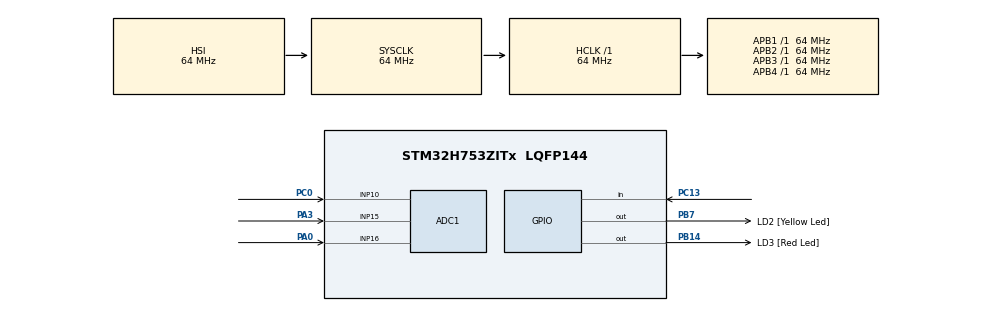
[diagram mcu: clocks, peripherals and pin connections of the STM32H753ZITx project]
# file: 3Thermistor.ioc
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ADC1.Channel-0\#ChannelRegularConversion=ADC_CHANNEL_10
ADC1.Channel-1\#ChannelRegularConversion=ADC_CHANNEL_15
ADC1.Channel-2\#ChannelRegularConversion=ADC_CHANNEL_16
ADC1.ContinuousConvMode=ENABLE
ADC1.ConversionDataManagement=ADC_CONVERSIONDATA_DMA_CIRCULAR
ADC1.NbrOfConversion=3
ADC1.NbrOfConversionFlag=1
ADC1.OffsetNumber-0\#ChannelRegularConversion=ADC_OFFSET_NONE
ADC1.OffsetNumber-1\#ChannelRegularConversion=ADC_OFFSET_NONE
ADC1.OffsetNumber-2\#ChannelRegularConversion=ADC_OFFSET_NONE
ADC1.OffsetSignedSaturation-0\#ChannelRegularConversion=DISABLE
ADC1.OffsetSignedSaturation-1\#ChannelRegularConversion=DISABLE
ADC1.OffsetSignedSaturation-2\#ChannelRegularConversion=DISABLE
ADC1.Rank-0\#ChannelRegularConversion=1
ADC1.Rank-1\#ChannelRegularConversion=2
ADC1.Rank-2\#ChannelRegularConversion=3
ADC1.SamplingTime-0\#ChannelRegularConversion=ADC_SAMPLETIME_810CYCLES_5
ADC1.SamplingTime-1\#ChannelRegularConversion=ADC_SAMPLETIME_810CYCLES_5
ADC1.SamplingTime-2\#ChannelRegularConversion=ADC_SAMPLETIME_810CYCLES_5
ADC1.master=1
CORTEX_M7.CPU_DCache=Disabled
CORTEX_M7.CPU_ICache=Disabled
CORTEX_M7.MPU_Control=__NULL
CORTEX_M7.default_mode_Activation=1
Dma.ADC1.0.Direction=DMA_PERIPH_TO_MEMORY
Dma.ADC1.0.EventEnable=DISABLE
Dma.ADC1.0.FIFOMode=DMA_FIFOMODE_DISABLE
Dma.ADC1.0.Instance=DMA1_Stream0
Dma.ADC1.0.MemDataAlignment=DMA_MDATAALIGN_HALFWORD
Dma.ADC1.0.MemInc=DMA_MINC_ENABLE
Dma.ADC1.0.Mode=DMA_CIRCULAR
Dma.ADC1.0.PeriphDataAlignment=DMA_PDATAALIGN_HALFWORD
Dma.ADC1.0.PeriphInc=DMA_PINC_DISABLE
Dma.ADC1.0.Polarity=HAL_DMAMUX_REQ_GEN_RISING
Dma.ADC1.0.Priority=DMA_PRIORITY_LOW
Dma.ADC1.0.RequestNumber=1
Dma.ADC1.0.SignalID=NONE
Dma.ADC1.0.SyncEnable=DISABLE
Dma.ADC1.0.SyncPolarity=HAL_DMAMUX_SYNC_NO_EVENT
Dma.ADC1.0.SyncRequestNumber=1
Dma.ADC1.0.SyncSignalID=NONE
Dma.Request0=ADC1
Mcu.Family=STM32H7
Mcu.Name=STM32H753ZITx
Mcu.Package=LQFP144
NUCLEO-H753ZI.BUTTON=1
NUCLEO-H753ZI.VCP=true
NVIC.ADC_IRQn=true\:1\:0\:true\:false\:true\:true\:true\:true
NVIC.DMA1_Stream0_IRQn=true\:0\:0\:false\:false\:true\:false\:true\:true
NVIC.EXTI15_10_IRQn=true\:0\:0\:false\:false\:true\:false\:true\:true
NVIC.PriorityGroup=NVIC_PRIORITYGROUP_4
PA0.Mode=IN16-Single-Ended
PA0.Signal=ADC1_INP16
PA3.Signal=ADCx_INP15
PB14.GPIO_Label=LD3 [Red Led]
PB14.Signal=GPIO_Output
PB7.GPIO_Label=LD2 [Yellow Led]
PB7.Signal=GPIO_Output
PC0.Signal=ADCx_INP10
PC13.Signal=GPIO_Input
PC14-OSC32_IN\ (OSC32_IN).Signal=RCC_OSC32_IN
PC15-OSC32_OUT\ (OSC32_OUT).Signal=RCC_OSC32_OUT
PD8.Signal=USART3_TX
PD9.Signal=USART3_RX
PH0-OSC_IN\ (PH0).Signal=RCC_OSC_IN
PH1-OSC_OUT\ (PH1).Signal=RCC_OSC_OUT
ProjectManager.HeapSize=0x200
ProjectManager.StackSize=0x400
ProjectManager.TargetToolchain=STM32CubeIDE
RCC.ADCFreq_Value=80000000
RCC.APB1Freq_Value=64000000
RCC.APB2Freq_Value=64000000
RCC.APB3Freq_Value=64000000
RCC.APB4Freq_Value=64000000
RCC.CortexFreq_Value=64000000
RCC.DIVM1=1
RCC.DIVM2=4
RCC.DIVN1=24
RCC.DIVN2=10
RCC.DIVQ1=4
RCC.HCLKFreq_Value=64000000
RCC.HSE_VALUE=8000000
RCC.PLL2FRACN=0
RCC.PLLFRACN=0
RCC.PWR_Regulator_Voltage_Scale=PWR_REGULATOR_VOLTAGE_SCALE2
RCC.SYSCLKFreq_VALUE=64000000
RCC.USBFreq_Value=384000000
SH.ADCx_INP10.0=ADC1_INP10,IN10-Single-Ended
SH.ADCx_INP15.0=ADC1_INP15,IN15-Single-Ended
VP_MEMORYMAP_VS_MEMORYMAP.Mode=CurAppReg
VP_NUCLEO-H753ZI_VS_BSP_COMMON.Mode=COMMON
board=NUCLEO-H753ZI

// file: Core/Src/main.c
/* USER CODE BEGIN Header */
/**
  ******************************************************************************
  * @file           : main.c
  * @brief          : Main program body
  ******************************************************************************
  * @attention
  *
  * Copyright (c) 2025 STMicroelectronics.
  * All rights reserved.
  *
  * This software is licensed under terms that can be found in the LICENSE file
  * in the root directory of this software component.
  * If no LICENSE file comes with this software, it is provided AS-IS.
  *
  ******************************************************************************
  */
/* USER CODE END Header */
#include "main.h"

/* USER CODE BEGIN Includes */
#include <stdio.h>
#include <string.h>
#include <stdlib.h>
#include <time.h>

#include "thermistor.h"

/* USER CODE END Includes */

COM_InitTypeDef BspCOMInit;
ADC_HandleTypeDef hadc1;
DMA_HandleTypeDef hdma_adc1;

void SystemClock_Config(void);
static void MX_GPIO_Init(void);
static void MX_DMA_Init(void);
static void MX_ADC1_Init(void);

/* USER CODE BEGIN 0 */
volatile uint8_t convCompleted = 0;
void HAL_ADC_ConvCpltCallback(ADC_HandleTypeDef *hadc)
{
	if (hadc->Instance == ADC1) {
		convCompleted = 1;
	}
}
/* USER CODE END 0 */

int main(void)
{

  /* MCU Configuration--------------------------------------------------------*/

  /* Reset of all peripherals, Initializes the Flash interface and the Systick. */
  HAL_Init();

  /* Configure the system clock */
  SystemClock_Config();

  /* Initialize all configured peripherals */
  MX_GPIO_Init();
  MX_DMA_Init();
  MX_ADC1_Init();

  /* Initialize USER push-button, will be used to trigger an interrupt each time it's pressed.*/
  BSP_PB_Init(BUTTON_USER, BUTTON_MODE_EXTI);

  /* Initialize COM1 port (115200, 8 bits (7-bit data + 1 stop bit), no parity */
  BspCOMInit.BaudRate   = 115200;
  BspCOMInit.WordLength = COM_WORDLENGTH_8B;
  BspCOMInit.StopBits   = COM_STOPBITS_1;
  BspCOMInit.Parity     = COM_PARITY_NONE;
  BspCOMInit.HwFlowCtl  = COM_HWCONTROL_NONE;
  if (BSP_COM_Init(COM1, &BspCOMInit) != BSP_ERROR_NONE)
  {
    Error_Handler();
  }

  /* Infinite loop */
  /* USER CODE BEGIN WHILE */

//	RTC_TimeTypeDef currentTime;
//	RTC_DateTypeDef currentDate;
//	time_t timestamp;
//	struct tm currTime;
  //	  HAL_RTC_GetTime(&hrtc, &currentTime, RTC_FORMAT_BIN);
  //	  HAL_RTC_GetDate(&hrtc, &currentDate, RTC_FORMAT_BIN);
  //
  //	  currTime.tm_year = currentDate.Year + 100;
  //	  currTime.tm_mday = currentDate.Date;
  //	  currTime.tm_mon  = currentDate.Month - 1;
  //
  //	  currTime.tm_hour = currentTime.Hours;
  //	  currTime.tm_min  = currentTime.Minutes;
  //	  currTime.tm_sec  = currentTime.Seconds;
  //
  //	  currTime.tm_isdst = -1;
  //
  //	  timestamp = mktime(&currTime);
  //	  printf("T1: %.2f °C | T2: %.2f °C | T3: %.2f °C\r\n\r\n", T1, T2, T3);
  //	  printf("T1,%.2f,T2,%.2f,T3,%.2f,%ld\r\n", T1, T2, T3, (long)timestamp);
  //	  printf("T1,%.2f,T2,%.2f,T3,%.2f,%ld\r\n", T1, T2, T3, time_elapsed);

  uint32_t startTime = HAL_GetTick();
  uint32_t hours = 0;
  uint32_t minutes = 0;
  uint32_t seconds = 0;
  uint32_t time_elapsed = 0;
  float T1 = 0, T2 = 0, T3 = 0;
  uint16_t rawValues[3];
  HAL_ADC_Start_DMA(&hadc1, (uint32_t*)rawValues, 3);

  // print header
  printf("Name,Temperature,Time\r\n");

  while (1)
  {
	  while (!convCompleted);
	  convCompleted = 0;
	  time_elapsed = HAL_GetTick() - startTime;
	  // convert to hours minutes seconds string
	  convert_millis_to_hms(time_elapsed, &hours, &minutes, &seconds);

	  T1 = ntc_convertToC(rawValues[0]);
	  T2 = ntc_convertToC(rawValues[1]);
	  T3 = ntc_convertToC(rawValues[2]);

	  printf("BriGitte,%.2f,%02lu:%02lu:%02lu\r\n", T1, hours, minutes, seconds);
	  printf("BlackTape,%.2f,%02lu:%02lu:%02lu\r\n", T2, hours, minutes, seconds);
	  printf("BlueTape,%.2f,%02lu:%02lu:%02lu\r\n", T3, hours, minutes, seconds);

	  HAL_Delay(1000);

    /* USER CODE END WHILE */

  }
}

void SystemClock_Config(void)
{
  RCC_OscInitTypeDef RCC_OscInitStruct = {0};
  RCC_ClkInitTypeDef RCC_ClkInitStruct = {0};

  /** Supply configuration update enable
  */
  HAL_PWREx_ConfigSupply(PWR_LDO_SUPPLY);

  /** Configure the main internal regulator output voltage
  */
  __HAL_PWR_VOLTAGESCALING_CONFIG(PWR_REGULATOR_VOLTAGE_SCALE2);

  while(!__HAL_PWR_GET_FLAG(PWR_FLAG_VOSRDY)) {}

  /** Macro to configure the PLL clock source
  */
  __HAL_RCC_PLL_PLLSOURCE_CONFIG(RCC_PLLSOURCE_HSI);

  /** Initializes the RCC Oscillators according to the specified parameters
  * in the RCC_OscInitTypeDef structure.
  */
  RCC_OscInitStruct.OscillatorType = RCC_OSCILLATORTYPE_HSI;
  RCC_OscInitStruct.HSIState = RCC_HSI_DIV1;
  RCC_OscInitStruct.HSICalibrationValue = RCC_HSICALIBRATION_DEFAULT;
  RCC_OscInitStruct.PLL.PLLState = RCC_PLL_NONE;
  if (HAL_RCC_OscConfig(&RCC_OscInitStruct) != HAL_OK)
  {
    Error_Handler();
  }

  /** Initializes the CPU, AHB and APB buses clocks
  */
  RCC_ClkInitStruct.ClockType = RCC_CLOCKTYPE_HCLK|RCC_CLOCKTYPE_SYSCLK
                              |RCC_CLOCKTYPE_PCLK1|RCC_CLOCKTYPE_PCLK2
                              |RCC_CLOCKTYPE_D3PCLK1|RCC_CLOCKTYPE_D1PCLK1;
  RCC_ClkInitStruct.SYSCLKSource = RCC_SYSCLKSOURCE_HSI;
  RCC_ClkInitStruct.SYSCLKDivider = RCC_SYSCLK_DIV1;
  RCC_ClkInitStruct.AHBCLKDivider = RCC_HCLK_DIV1;
  RCC_ClkInitStruct.APB3CLKDivider = RCC_APB3_DIV1;
  RCC_ClkInitStruct.APB1CLKDivider = RCC_APB1_DIV1;
  RCC_ClkInitStruct.APB2CLKDivider = RCC_APB2_DIV1;
  RCC_ClkInitStruct.APB4CLKDivider = RCC_APB4_DIV1;

  if (HAL_RCC_ClockConfig(&RCC_ClkInitStruct, FLASH_LATENCY_1) != HAL_OK)
  {
    Error_Handler();
  }
}

static void MX_ADC1_Init(void)
{

  ADC_MultiModeTypeDef multimode = {0};
  ADC_ChannelConfTypeDef sConfig = {0};

  /** Common config
  */
  hadc1.Instance = ADC1;
  hadc1.Init.ClockPrescaler = ADC_CLOCK_ASYNC_DIV2;
  hadc1.Init.Resolution = ADC_RESOLUTION_16B;
  hadc1.Init.ScanConvMode = ADC_SCAN_ENABLE;
  hadc1.Init.EOCSelection = ADC_EOC_SINGLE_CONV;
  hadc1.Init.LowPowerAutoWait = DISABLE;
  hadc1.Init.ContinuousConvMode = ENABLE;
  hadc1.Init.NbrOfConversion = 3;
  hadc1.Init.DiscontinuousConvMode = DISABLE;
  hadc1.Init.ExternalTrigConv = ADC_SOFTWARE_START;
  hadc1.Init.ExternalTrigConvEdge = ADC_EXTERNALTRIGCONVEDGE_NONE;
  hadc1.Init.ConversionDataManagement = ADC_CONVERSIONDATA_DMA_CIRCULAR;
  hadc1.Init.Overrun = ADC_OVR_DATA_PRESERVED;
  hadc1.Init.LeftBitShift = ADC_LEFTBITSHIFT_NONE;
  hadc1.Init.OversamplingMode = DISABLE;
  hadc1.Init.Oversampling.Ratio = 1;
  if (HAL_ADC_Init(&hadc1) != HAL_OK)
  {
    Error_Handler();
  }

  /** Configure the ADC multi-mode
  */
  multimode.Mode = ADC_MODE_INDEPENDENT;
  if (HAL_ADCEx_MultiModeConfigChannel(&hadc1, &multimode) != HAL_OK)
  {
    Error_Handler();
  }

  /** Configure Regular Channel
  */
  sConfig.Channel = ADC_CHANNEL_10;
  sConfig.Rank = ADC_REGULAR_RANK_1;
  sConfig.SamplingTime = ADC_SAMPLETIME_810CYCLES_5;
  sConfig.SingleDiff = ADC_SINGLE_ENDED;
  sConfig.OffsetNumber = ADC_OFFSET_NONE;
  sConfig.Offset = 0;
  sConfig.OffsetSignedSaturation = DISABLE;
  if (HAL_ADC_ConfigChannel(&hadc1, &sConfig) != HAL_OK)
  {
    Error_Handler();
  }

  /** Configure Regular Channel
  */
  sConfig.Channel = ADC_CHANNEL_15;
  sConfig.Rank = ADC_REGULAR_RANK_2;
  if (HAL_ADC_ConfigChannel(&hadc1, &sConfig) != HAL_OK)
  {
    Error_Handler();
  }

  /** Configure Regular Channel
  */
  sConfig.Channel = ADC_CHANNEL_16;
  sConfig.Rank = ADC_REGULAR_RANK_3;
  if (HAL_ADC_ConfigChannel(&hadc1, &sConfig) != HAL_OK)
  {
    Error_Handler();
  }

}

static void MX_DMA_Init(void)
{

  /* DMA controller clock enable */
  __HAL_RCC_DMA1_CLK_ENABLE();

  /* DMA interrupt init */
  /* DMA1_Stream0_IRQn interrupt configuration */
  HAL_NVIC_SetPriority(DMA1_Stream0_IRQn, 0, 0);
  HAL_NVIC_EnableIRQ(DMA1_Stream0_IRQn);

}

static void MX_GPIO_Init(void)
{
  GPIO_InitTypeDef GPIO_InitStruct = {0};

  /* GPIO Ports Clock Enable */
  __HAL_RCC_GPIOC_CLK_ENABLE();
  __HAL_RCC_GPIOH_CLK_ENABLE();
  __HAL_RCC_GPIOA_CLK_ENABLE();
  __HAL_RCC_GPIOB_CLK_ENABLE();

  /*Configure GPIO pin Output Level */
  HAL_GPIO_WritePin(GPIOB, LD3_Pin|LD2_Pin, GPIO_PIN_RESET);

  /*Configure GPIO pins : LD3_Pin LD2_Pin */
  GPIO_InitStruct.Pin = LD3_Pin|LD2_Pin;
  GPIO_InitStruct.Mode = GPIO_MODE_OUTPUT_PP;
  GPIO_InitStruct.Pull = GPIO_NOPULL;
  GPIO_InitStruct.Speed = GPIO_SPEED_FREQ_LOW;
  HAL_GPIO_Init(GPIOB, &GPIO_InitStruct);

}

/* USER CODE BEGIN 4 */

void convert_millis_to_hms(uint32_t total_milliseconds, uint32_t* hours, uint32_t* minutes, uint32_t* seconds) {
    uint32_t total_seconds = total_milliseconds / 1000;

    *seconds = total_seconds % 60;
    *minutes = (total_seconds / 60) % 60;
    *hours = total_seconds / 3600;
}

/* USER CODE END 4 */

void Error_Handler(void)
{
  __disable_irq();
  while (1)
  {
  }
}
